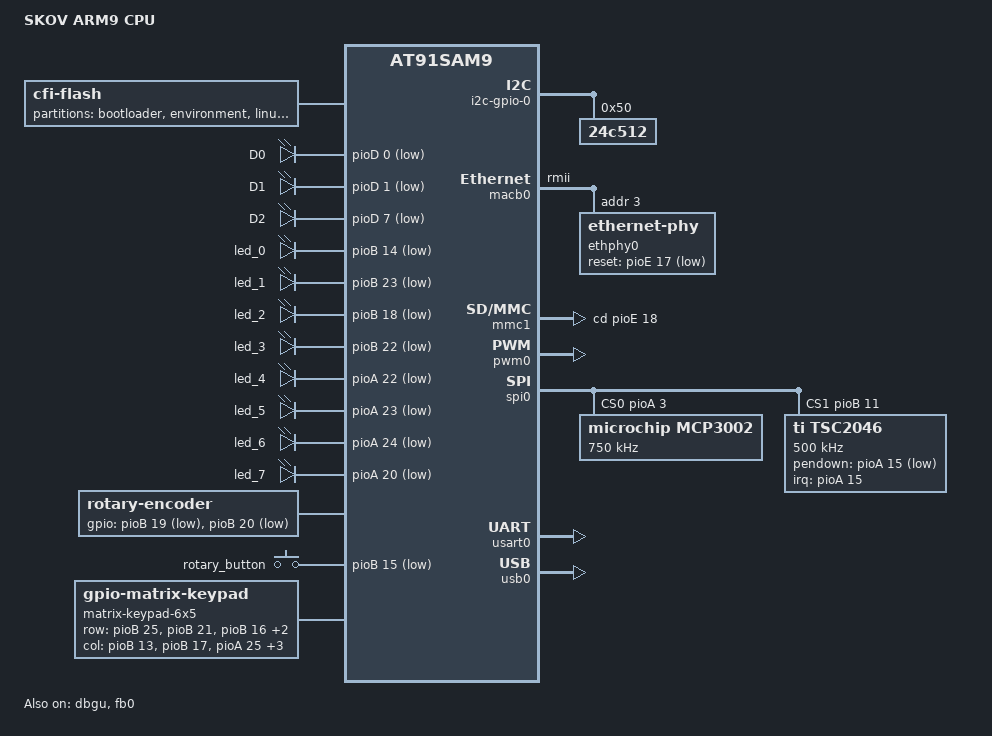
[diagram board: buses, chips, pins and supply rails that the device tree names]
// SPDX-License-Identifier: GPL-2.0
// SPDX-FileCopyrightText: 2018 Sam Ravnborg <sam@ravnborg.org>

/*
 * Device Tree file for SKOV ARM9 CPU board with 128 MB RAM and
 * Logic Technology Display
 */

/dts-v1/;

#include <arm/microchip/at91sam9263.dtsi>

/ {
	model = "SKOV ARM9 CPU";
	compatible = "skov,arm9-cpu", "atmel,at91sam9263", "atmel,at91sam9";
	barebox,disable-deep-probe;

	chosen {
		stdout-path = "serial0:115200n8";

		environment-sd {
			compatible = "barebox,environment";
			device-path = &mmc1;
			file-path = "barebox.env";
		};
	};

	flash: nor_flash@10000000 {
		compatible = "cfi-flash";
		reg = <0x10000000 0x4000000>;
		linux,mtd-name = "physmap-flash.0";
		bank-width = <2>;
		#address-cells = <1>;
		#size-cells = <1>;

		partitions {
			compatible = "fixed-partitions";
			#address-cells = <1>;
			#size-cells = <1>;

			u-boot@0 {
				label = "bootloader";
				reg = <0x00000 0x80000>;
			};

			env@80000 {
				label = "environment";
				reg = <0x80000 0x20000>;
			};

			linux@a0000 {
				label = "linux";
				reg = <0xa0000 0x2a0000>;
			};

			rootfs@340000  {
				label = "rootfs";
				reg = <0x340000 0x3cc0000>;
			};
		};
	};

	leds {
		compatible = "gpio-leds";

		D0 {
			label = "D0";
			gpios = <&pioD 0 GPIO_ACTIVE_LOW>;
			linux,default-trigger = "heartbeat";
		};

		D1 {
			label = "D1";
			gpios = <&pioD 1 GPIO_ACTIVE_LOW>;
			linux,default-trigger = "mmc0";
		};

		D2 {
			label = "D2";
			gpios = <&pioD 7 GPIO_ACTIVE_LOW>;
		};

		led_0 {
			label = "led_0";
			gpios = <&pioB 14 GPIO_ACTIVE_LOW>;
		};

		led_1 {
			label = "led_1";
			gpios = <&pioB 23 GPIO_ACTIVE_LOW>;
		};

		led_2 {
			label = "led_2";
			gpios = <&pioB 18 GPIO_ACTIVE_LOW>;
		};

		led_3 {
			label = "led_3";
			gpios = <&pioB 22 GPIO_ACTIVE_LOW>;
		};

		led_4 {
			label = "led_4";
			gpios = <&pioA 22 GPIO_ACTIVE_LOW>;
		};

		led_5 {
			label = "led_5";
			gpios = <&pioA 23 GPIO_ACTIVE_LOW>;
		};

		led_6 {
			label = "led_6";
			gpios = <&pioA 24 GPIO_ACTIVE_LOW>;
		};

		led_7 {
			label = "led_7";
			gpios = <&pioA 20 GPIO_ACTIVE_LOW>;
		};
	};

	i2c-gpio-0 {
		status = "okay";

		24c512@50 {
			compatible = "24c512";
			reg = <0x50>;
			pagesize = <128>;
		};
	};

	rotary-encoder {
		compatible = "rotary-encoder";
		gpios = <&pioB 19 GPIO_ACTIVE_LOW>, <&pioB 20 GPIO_ACTIVE_LOW>;
		linux,axis = <0>; /* REL_X */
		rotary-encoder,steps-per-period = <4>;
		rotary-encoder,relative-axis;
	};

	gpio-keys {
		compatible = "gpio-keys";
		#address-cells = <1>;
		#size-cells = <0>;

		rotary_button {
			label = "rotary_button";
			gpios = <&pioB 15 GPIO_ACTIVE_LOW>;
			debounce-interval = <10>;
			linux,code = <28>; /* enter */
		};
	};

	matrix-keypad-6x5 {
		compatible = "gpio-matrix-keypad";
		debounce-delay-ms = <10>;
		col-scan-delay-us = <10>;

		row-gpios = <&pioB 25 GPIO_ACTIVE_HIGH    /* 1 */
			     &pioB 21 GPIO_ACTIVE_HIGH    /* 2 */
			     &pioB 16 GPIO_ACTIVE_HIGH    /* 3 */
			     &pioB 24 GPIO_ACTIVE_HIGH    /* 4 */
			     &pioB 12 GPIO_ACTIVE_HIGH>;  /* 5 */

		col-gpios = <&pioB 13 GPIO_ACTIVE_HIGH    /* 1 */
			     &pioB 17 GPIO_ACTIVE_HIGH    /* 2 */
			     &pioA 25 GPIO_ACTIVE_HIGH    /* 3 */
			     &pioA 21 GPIO_ACTIVE_HIGH    /* 4 */
			     &pioA 19 GPIO_ACTIVE_HIGH    /* 5 */
			     &pioA 18 GPIO_ACTIVE_HIGH>;  /* 6 */


		linux,keymap = <
			0x00000011 /* col0 row0 KEY_W */
			0x01000021 /* col0 row1 KEY_F */
			0x02000031 /* col0 row2 KEY_N */
			0x03000041 /* col0 row3 KEY_F7 */
			0x04000051 /* col0 row4 KEY_KP3 */
			0x00010012 /* col1 row0 KEY_E */
			0x01010022 /* col1 row1 KEY_G */
			0x02010032 /* col1 row2 KEY_M */
			0x03010042 /* col1 row3 KEY_F8 */
			0x04010052 /* col1 row4 KEY_KP0 */
			0x00020013 /* col2 row0 KEY_R */
			0x01020023 /* col2 row1 KEY_H */
			0x02020033 /* col2 row2 KEY_COMMA */
			0x03020043 /* col2 row3 KEY_F9 */
			0x04020053 /* col2 row4 KEY_F9 */
			0x00030014 /* col3 row0 KEY_T */
			0x01030024 /* col3 row1 KEY_J */
			0x02030034 /* col3 row2 KEY_DOT */
			0x03030044 /* col3 row3 KEY_NUMLOCK */
			0x04030054 /* col3 row4 */
			0x00040015 /* col4 row0 KEY_Y */
			0x01040025 /* col4 row1 KEY_K */
			0x02040035 /* col4 row2 KEY_SLASH */
			0x03040045 /* col4 row3 KEY_NUMLOCK */
			0x04040055 /* col4 row4 KEY_ZENKAKUHANKAKU */
			0x00050016 /* col5 row0 KEY_U */
			0x01050026 /* col5 row1 KEY_L */
			0x02050036 /* col5 row2 KEY_RIGH_SHIFT */
			0x03050046 /* col5 row3 KEY_SCROLLLOCK */
			0x04050056 /* col5 row4 KEY_102ND */
		>;
	};
};

pinctrl: &{/ahb/apb/pinctrl@fffff200} {
};

&{/ahb/apb/watchdog@fffffd40} {
		status = "okay";
};

&dbgu {
	status = "okay";
};

&fb0 {
	status = "okay";
	display = <&display0>;
	display0: display0 {
		bits-per-pixel = <16>;
		atmel,lcdcon-backlight;
		atmel,dmacon = <0x1>;
		atmel,lcdcon2 = <0x80008002>;
		atmel,guard-time = <1>;
		atmel,lcd-wiring-mode = "BRG";
		pinctrl-names = "default";
		pinctrl-0 = <
			&pinctrl_board_fb
			&pinctrl_disp_type
			&pinctrl_logic_type
		>;

		atmel,power-control-gpio = <&pioA 30 GPIO_ACTIVE_HIGH>;

		display-timings {
			native-mode = <&l2rt>;

			l2rt: l2rt {
				/* LTTD800480070-L2RT @ 55 */
				clock-frequency = <30000000>;
				hactive = <800>;
				vactive = <480>;
				/* Atmel calculation
				 * Horizontal =
				 * Hsync + left margin + picture + right_margin + 1
				 * (3 + 85 + 800 + 0 + 1 = 889)
				 */
				hback-porch = <85>;
				hfront-porch = <1>;
				hsync-len = <3>;
				/* Vertical =
				 * upper margin + picture + lower_margin
				 * (32 + 480 + 1 = 513) (25MHz / ( 889 * 513 ) = 54,8Hz
				 */
				vback-porch = <32>;
				vfront-porch = <1>;
				vsync-len = <3>;
				pixelclk-active = <1>;
				hsync-active = <0>;
				vsync-active = <0>;
				de-active = <1>;
			};

			l6whrt: l6whrt {
				clock-frequency = <33000000>;
				hactive = <800>;
				vactive = <480>;
				hback-porch = <43>;
				hfront-porch = <154>;
				vback-porch = <20>;
				vfront-porch = <47>;
				hsync-len = <3>;
				vsync-len = <3>;
				pixelclk-active = <1>;
				hsync-active = <0>;
				vsync-active = <0>;
				de-active = <1>;
			};

			seiko: seiko {
				/* 70WVW2AZ0 @ 55 */
				clock-frequency = <33000000>;
				hactive = <800>;
				vactive = <480>;
				hback-porch = <0>;
				hfront-porch = <256>;
				vback-porch = <45>;
				vfront-porch = <0>;
				hsync-len = <0>;
				vsync-len = <0>;
				pixelclk-active = <1>;
				hsync-active = <0>;
				vsync-active = <0>;
				de-active = <1>;
			};
		};
	};
};

&macb0 {
	status = "okay";
	phy-mode = "rmii";
	#address-cells = <1>;
	#size-cells = <0>;

	ethphy0: ethernet-phy@1 {
		reg = <3>;
		reset-gpios = <&pioE 17 GPIO_ACTIVE_LOW>;
		reset-assert-us = <1000>;
		reset-deassert-us = <100>;
	};
};

&main_xtal {
	clock-frequency = <16000000>;
};

&mmc1 {
	status = "okay";
	pinctrl-0 = <
		&pinctrl_board_mmc1
		&pinctrl_mmc1_clk
		&pinctrl_mmc1_slot0_cmd_dat0
		&pinctrl_mmc1_slot0_dat1_3>;
	cd-gpios = <&pioE 18 GPIO_ACTIVE_HIGH>;
	slot@0 {
		reg = <0>;
		bus-width = <4>;
		cd-gpios = <&pioE 18 GPIO_ACTIVE_HIGH>;
		wp-gpios = <&pioE 19 GPIO_ACTIVE_HIGH>;
	};
};

&pinctrl {
	mmc1 {
		pinctrl_board_mmc1: mmc1-board {
			atmel,pins =
				<AT91_PIOE 18 AT91_PERIPH_GPIO
				 AT91_PINCTRL_PULL_UP_DEGLITCH 	/* PE18 gpio CD pin pull up and deglitch */
				 AT91_PIOE 19 AT91_PERIPH_GPIO AT91_PINCTRL_PULL_UP>;	/* PE19 gpio WP pin pull up */
		};
	};

	display_type_inputs {
		pinctrl_disp_type: disp_type-0 {
			/* Pull-up (HIGH) if Seiko display, otherwise Logic display */
			atmel,pins =
				<AT91_PIOD 2 AT91_PERIPH_GPIO AT91_PINCTRL_PULL_UP>;
		};
		pinctrl_logic_type: logic_type-0 {
			/* Pull-down (LOW) if l6whrt display, otherwise l2rt display */
			atmel,pins =
				<AT91_PIOC 28 AT91_PERIPH_GPIO AT91_PINCTRL_PULL_UP>;
		};
	};

	fb {
		pinctrl_board_fb: fb-0 {
			atmel,pins =
			       <AT91_PIOC 0  AT91_PERIPH_A AT91_PINCTRL_NONE    /* LCDVSYNC */
				AT91_PIOC 1  AT91_PERIPH_A AT91_PINCTRL_NONE    /* LCDHSYNC */
				AT91_PIOC 2  AT91_PERIPH_A AT91_PINCTRL_NONE    /* LCDDOTCK */
				AT91_PIOC 3  AT91_PERIPH_A AT91_PINCTRL_NONE    /* LCDDEN */
				AT91_PIOB 9  AT91_PERIPH_B AT91_PINCTRL_NONE    /* LCDCC */
				AT91_PIOC 6  AT91_PERIPH_A AT91_PINCTRL_NONE    /* LCDD2 */
				AT91_PIOC 7  AT91_PERIPH_A AT91_PINCTRL_NONE    /* LCDD3 */
				AT91_PIOC 8  AT91_PERIPH_A AT91_PINCTRL_NONE    /* LCDD4 */
				AT91_PIOC 9  AT91_PERIPH_A AT91_PINCTRL_NONE    /* LCDD5 */
				AT91_PIOC 10 AT91_PERIPH_A AT91_PINCTRL_NONE    /* LCDD6 */
				AT91_PIOC 11 AT91_PERIPH_A AT91_PINCTRL_NONE    /* LCDD7 */
				AT91_PIOC 14 AT91_PERIPH_A AT91_PINCTRL_NONE    /* LCDD10 */
				AT91_PIOC 15 AT91_PERIPH_A AT91_PINCTRL_NONE    /* LCDD11 */
				AT91_PIOC 16 AT91_PERIPH_A AT91_PINCTRL_NONE    /* LCDD12 */
				AT91_PIOC 12 AT91_PERIPH_B AT91_PINCTRL_NONE    /* LCDD13 */
				AT91_PIOC 18 AT91_PERIPH_A AT91_PINCTRL_NONE    /* LCDD14 */
				AT91_PIOC 19 AT91_PERIPH_A AT91_PINCTRL_NONE    /* LCDD15 */
				AT91_PIOC 22 AT91_PERIPH_A AT91_PINCTRL_NONE    /* LCDD18 */
				AT91_PIOC 23 AT91_PERIPH_A AT91_PINCTRL_NONE    /* LCDD19 */
				AT91_PIOC 24 AT91_PERIPH_A AT91_PINCTRL_NONE    /* LCDD20 */
				AT91_PIOC 17 AT91_PERIPH_B AT91_PINCTRL_NONE    /* LCDD21 */
				AT91_PIOC 26 AT91_PERIPH_A AT91_PINCTRL_NONE    /* LCDD22 */
				AT91_PIOC 27 AT91_PERIPH_A AT91_PINCTRL_NONE>;  /* LCDD23 */
		};
	};

	pwm0 {
		pinctrl_pwm0: pwm0_pwm1 {
			atmel,pins = <AT91_PIOB 8 AT91_PERIPH_B AT91_PINCTRL_NONE>;
		};
	};
};

&pwm0 {
	status = "okay";
	pinctrl-names = "default";
	pinctrl-0 = <&pinctrl_pwm0>;
};

&slow_xtal {
	clock-frequency = <32768>;
};

&spi0 {
	status = "okay";
	cs-gpios = <&pioA 3 0>, <&pioB 11 0>;

	mcp3002@0 {
		compatible = "microchip,mcp3002";
		reg = <0>;
		spi-max-frequency = <750000>;
	};

	tsc2046@1 {
		compatible = "ti,tsc2046";
		reg = <1>;
		interrupts-extended = <&pioA 15 IRQ_TYPE_EDGE_BOTH>;
		spi-max-frequency = <500000>;
		pendown-gpio = <&pioA 15 GPIO_ACTIVE_LOW>;

		ti,x-min = /bits/ 16 <800>;
		ti,x-max = /bits/ 16 <3830>;
		ti,y-min = /bits/ 16 <500>;
		ti,y-max = /bits/ 16 <3830>;
		ti,vref-delay-usecs = /bits/ 16 <300>;
		ti,x-plate-ohms = /bits/ 16 <642>;
		ti,y-plate-ohms = /bits/ 16 <295>;
		ti,pressure-max = /bits/ 16 <1500>;
		ti,debounce-rep = /bits/ 16 <8>;
		ti,debounce-tol = /bits/ 16 <(~0)>;
		ti,debounce-max = /bits/ 16 <100>;

		wakeup-source;
	};
};

&usart0 {
	status = "okay";
	pinctrl-0 = <
		&pinctrl_usart0
		&pinctrl_usart0_rts
		&pinctrl_usart0_cts>;
};

&usb0 {
	status = "okay";
	num-ports = <2>;
};
